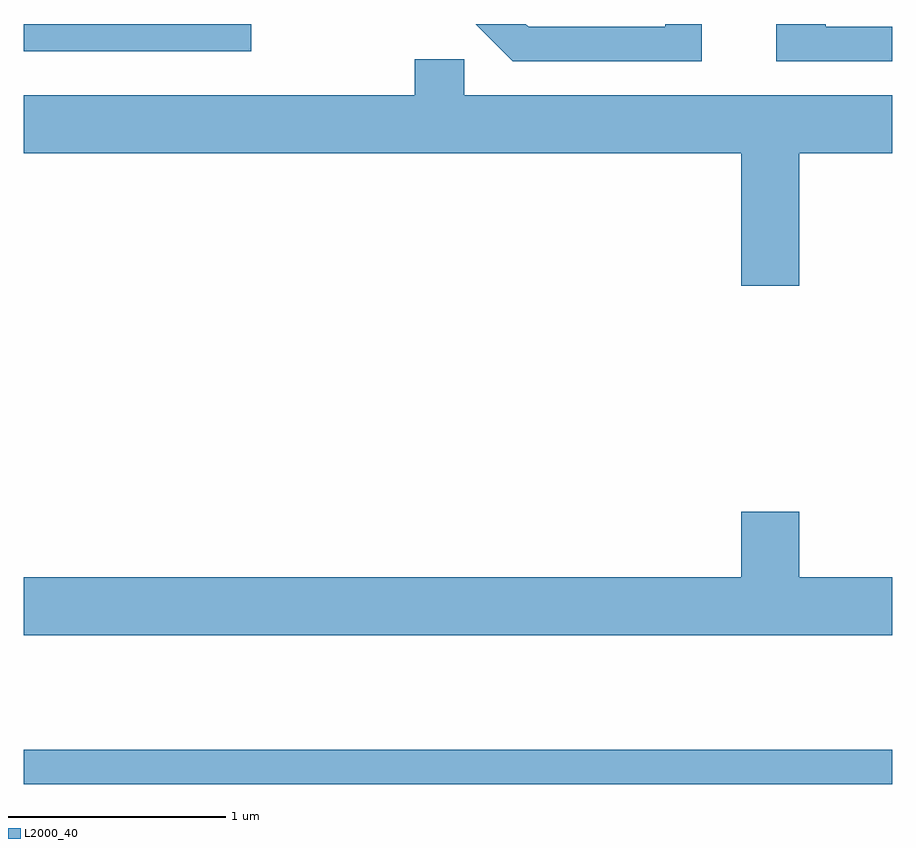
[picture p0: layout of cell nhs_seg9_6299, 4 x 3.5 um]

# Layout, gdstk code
import gdstk
lib = gdstk.Library(unit=1e-6, precision=1e-09)
def R(c, l, rs):  # rectangles x0, y0, x1, y1
    for r in rs: c.add(gdstk.rectangle(r[:2], r[2:], *l))
def P(c, l, *ps):  # polygons
    for p in ps: c.add(gdstk.Polygon(p, *l))
L2000_40 = (2000, 40)

nhs_seg9_6299 = lib.new_cell('nhs_seg9_6299')
R(nhs_seg9_6299, L2000_40, [(371.611,1968.931,375.611,1969.089), (371.611,1972.306,372.659,1972.432)])
P(nhs_seg9_6299, L2000_40, [(374.734,1972.432),(374.566,1972.432),(374.566,1972.419),(373.937,1972.419),(373.924,1972.432),(373.693,1972.432),(373.864,1972.261),(374.734,1972.261)],
  [(375.611,1972.419),(375.304,1972.419),(375.304,1972.432),(375.076,1972.432),(375.076,1972.261),(375.611,1972.261)],
  [(375.184,1971.836),(375.611,1971.836),(375.611,1972.104),(373.639,1972.104),(373.639,1972.269),(373.411,1972.269),(373.411,1972.104),(371.611,1972.104),(371.611,1971.836),(374.916,1971.836),(374.916,1971.226),(375.184,1971.226)],
  [(375.611,1969.884),(375.184,1969.884),(375.184,1970.184),(374.916,1970.184),(374.916,1969.884),(371.611,1969.884),(371.611,1969.616),(375.611,1969.616)])

lib.write_gds('nhs_seg9_6299.gds')
